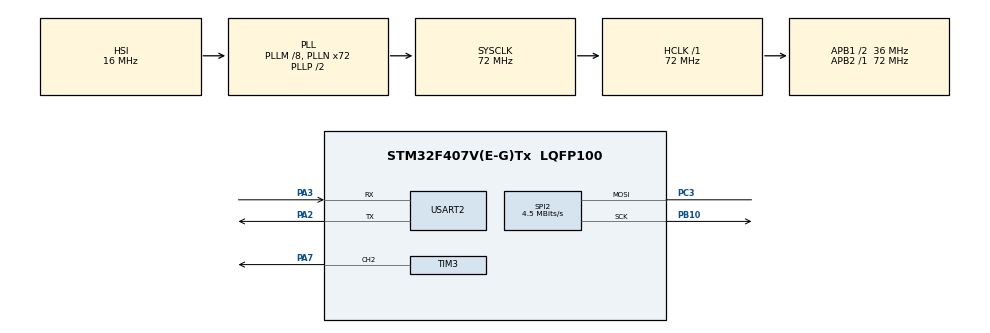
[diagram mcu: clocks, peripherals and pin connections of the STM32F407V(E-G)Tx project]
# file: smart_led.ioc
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Dma.Request0=TIM3_CH2
Dma.TIM3_CH2.0.Direction=DMA_MEMORY_TO_PERIPH
Dma.TIM3_CH2.0.FIFOMode=DMA_FIFOMODE_DISABLE
Dma.TIM3_CH2.0.Instance=DMA1_Stream5
Dma.TIM3_CH2.0.MemDataAlignment=DMA_MDATAALIGN_HALFWORD
Dma.TIM3_CH2.0.MemInc=DMA_MINC_ENABLE
Dma.TIM3_CH2.0.Mode=DMA_NORMAL
Dma.TIM3_CH2.0.PeriphDataAlignment=DMA_PDATAALIGN_HALFWORD
Dma.TIM3_CH2.0.PeriphInc=DMA_PINC_DISABLE
Dma.TIM3_CH2.0.Priority=DMA_PRIORITY_LOW
Mcu.Family=STM32F4
Mcu.Name=STM32F407V(E-G)Tx
Mcu.Package=LQFP100
NVIC.DMA1_Stream5_IRQn=true\:0\:0\:false\:false\:true\:false\:true\:true
NVIC.PriorityGroup=NVIC_PRIORITYGROUP_4
NVIC.USART2_IRQn=true\:0\:0\:false\:false\:true\:true\:true\:true
PA2.Mode=Asynchronous
PA2.Signal=USART2_TX
PA3.Mode=Asynchronous
PA3.Signal=USART2_RX
PA7.Signal=S_TIM3_CH2
PB10.Mode=Simplex_Bidirectional_Master
PB10.Signal=SPI2_SCK
PC3.Mode=Simplex_Bidirectional_Master
PC3.Signal=SPI2_MOSI
ProjectManager.HeapSize=0x200
ProjectManager.StackSize=0x400
ProjectManager.TargetToolchain=STM32CubeIDE
RCC.48MHZClocksFreq_Value=36000000
RCC.AHBFreq_Value=72000000
RCC.APB1CLKDivider=RCC_HCLK_DIV2
RCC.APB1Freq_Value=36000000
RCC.APB1TimFreq_Value=72000000
RCC.APB2Freq_Value=72000000
RCC.APB2TimFreq_Value=72000000
RCC.CortexFreq_Value=72000000
RCC.HCLKFreq_Value=72000000
RCC.HSE_VALUE=25000000
RCC.HSI_VALUE=16000000
RCC.LSE_VALUE=32768
RCC.PLLM=8
RCC.PLLN=72
RCC.SYSCLKFreq_VALUE=72000000
RCC.SYSCLKSource=RCC_SYSCLKSOURCE_PLLCLK
RCC.VCOOutputFreq_Value=144000000
SH.S_TIM3_CH2.0=TIM3_CH2,PWM Generation2 CH2
SPI2.BaudRatePrescaler=SPI_BAUDRATEPRESCALER_8
SPI2.CalculateBaudRate=4.5 MBits/s
SPI2.Direction=SPI_DIRECTION_1LINE
SPI2.Mode=SPI_MODE_MASTER
SPI2.VirtualType=VM_MASTER
TIM3.Channel-PWM\ Generation2\ CH2=TIM_CHANNEL_2
TIM3.OCMode_PWM-PWM\ Generation2\ CH2=TIM_OCMODE_PWM1
TIM3.Period=90-1
TIM3.Prescaler=0
USART2.VirtualMode=VM_ASYNC
board=custom

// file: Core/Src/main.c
/* USER CODE BEGIN Header */
/**
  ******************************************************************************
  * @file           : main.c
  * @brief          : Main program body
  ******************************************************************************
  * @attention
  *
  * Copyright (c) 2024 STMicroelectronics.
  * All rights reserved.
  *
  * This software is licensed under terms that can be found in the LICENSE file
  * in the root directory of this software component.
  * If no LICENSE file comes with this software, it is provided AS-IS.
  *
  ******************************************************************************
  */
/* USER CODE END Header */
#include "main.h"
#include "math.h"
#include <string.h>

SPI_HandleTypeDef hspi2;

TIM_HandleTypeDef htim3;
DMA_HandleTypeDef hdma_tim3_ch2;

UART_HandleTypeDef huart2;

void SystemClock_Config(void);
static void MX_GPIO_Init(void);
static void MX_DMA_Init(void);
static void MX_SPI2_Init(void);
static void MX_USART2_UART_Init(void);
static void MX_TIM3_Init(void);

/* USER CODE BEGIN 0 */

volatile uint8_t data_received_flag = 0;
uint8_t uart_buffer_rx[4];  // max 12  255_255_255_100_
uint8_t color_number[3];		// R

uint8_t input_red=0;
uint8_t input_green=0;
uint8_t input_blue=0;
uint8_t input_brightness=0;

#define MAX_LED 60
#define USE_BRIGHTNESS 1

uint8_t LED_data[MAX_LED][4];
uint8_t LED_Mod[MAX_LED][4];	// for brightness

int datasentflag = 0;  // set once the DMA stopped

void HAL_TIM_PWM_PulseFinishedCallback(TIM_HandleTypeDef *htim){
	HAL_TIM_PWM_Stop_DMA(&htim3, TIM_CHANNEL_2);
	datasentflag = 1;  // the flag ensures that the DMA dont send another data while the first data is still transmitted
}

void Set_LED (int LEDnum, int Red, int Green, int Blue){
	LED_data[LEDnum][0] = LEDnum;
	LED_data[LEDnum][1] = Green;
	LED_data[LEDnum][2] = Red;
	LED_data[LEDnum][3] = Blue;
}

# define PI 3.14159265

void Set_Brightness (int brightness){
#if USE_BRIGHTNESS

	if (brightness > 45) brightness = 45;
	for(int i=0; i<MAX_LED; i++){
		LED_Mod[i][0] = LED_data[i][0];
		for(int j=1; j<4;j++){
			float angle = 90 - brightness; // in degrees
			angle = angle*PI / 180; // in rad
			LED_Mod[i][j] = (LED_data[i][j])/(tan(angle));
		}
	}

#endif
}

// compare the two scaling algorithm
void Set_Brightness2 (int brightness){
#if USE_BRIGHTNESS
	if (brightness > 100) brightness = 100;
	for(int i=0; i<MAX_LED; i++){
		for(int j=1; j<4;j++){
		    double scaledValue = (double)brightness/100;
		    double logValue = log10(1 + 9 * scaledValue) / log10(10);
			LED_Mod[i][j] = LED_data[i][j] * logValue;
		}
	}
#endif
}

//24
// 23

//uint16_t pwmData[24];
uint16_t pwmData[(24*MAX_LED)+50];

//uint16_t pwmData[24];

void send (int Green, int Red, int Blue){
	  uint32_t data = (Green<<16) | (Red<<8) | Blue;

	  for (int i = 23; i>=0; i--){
		  if(data&(1<<i)) pwmData[i] = 60;
		  else pwmData[i] = 30;
	  }

	  HAL_TIM_PWM_Start_DMA(&htim3, TIM_CHANNEL_2, (uint32_t *)pwmData, 24);
}

  // the extra 50 is to store the reset code

void WS2812B_Send(void){
	uint32_t indx = 0;
	uint32_t color;

	for(int i=0; i<MAX_LED; i++){
		color = ((LED_Mod[i][1]<<16) | (LED_Mod[i][2]<< 8) | (LED_Mod[i][3]));

		for(int i=23; i>=0; i--){
			if(color&(1<<i)){
				pwmData[indx] = 60;  	//  2/3 of 90  (datasheet timing)
			}
			else pwmData[indx] = 30;	//  1/3 of 90  (datasheet timing)
			indx++;
		}
	}
	for(int i=0; i<50; i++){  // from datasheet info  50 zeros -> reset code   50usec delay in the PWM output
		pwmData[indx] =0;
		indx++;
	}
	HAL_TIM_PWM_Start_DMA(&htim3, TIM_CHANNEL_2, (uint32_t *)pwmData, indx);
	while(!datasentflag){};
	datasentflag = 0;
}

void HAL_UART_TxCpltCallback(UART_HandleTypeDef *huart){

}

void HAL_UART_RxCpltCallback(UART_HandleTypeDef *huart){
	if(huart->Instance==USART2){
		data_received_flag = 1;
		//HAL_UART_Receive_IT(&huart2, buffer_rx, 10);

		// if yes we can do something   or  __NOP();
		// in my exampl i have to show the main loop that i received datas, i need a flag
	}

	// in case we have multiple usarts:
	//if(huart->Instance==USART1){
			// ez akkor kell ha van másik UART ról is megszakítás
	//}
}
/* USER CODE END 0 */

int main(void)
{

  /* MCU Configuration--------------------------------------------------------*/

  /* Reset of all peripherals, Initializes the Flash interface and the Systick. */
  HAL_Init();

  /* Configure the system clock */
  SystemClock_Config();

  /* Initialize all configured peripherals */
  MX_GPIO_Init();
  MX_DMA_Init();
  MX_SPI2_Init();
  MX_USART2_UART_Init();
  MX_TIM3_Init();
  /* USER CODE BEGIN 2 */
 // HAL_SPI_Transmit(&hspi2, spi_buffer_tx, 9, 100);
  /*
  for(int i=0; i<8;i++){
	  setLED(i, 0, 0, 0);
  }
  WS2812_Send();*/
  //B R G
  //send(5, 255, 101);
  /*
  for(int i=0; i<30;i++){
	  Set_LED(i,255, 100,0);
  }
  for(int i=30; i<59;i++){
  	  Set_LED(i,255,0,100);
    }
    */
  //Set_LED(0,255, 0,0);
  //Set_LED(1,0, 255,0);
  //Set_LED(2,0, 0,255);

  //Set_LED(3, 46, 89, 128);
  //send(0, 0, 255);
  //send(255, 0, 0);
  //Set_Brightness(45);
  //WS2812B_Send();

  // i have to start the reception before transmittion ??  dont forget
  //HAL_UART_Receive_IT(&huart2, (uint8_t *)uart_buffer_rx, 10);
  //HAL_UART_Transmit_IT(&huart2, buffer_tx, 10);
  //HAL_UART_Receive_IT(&huart2, buffer_rx, 10);
  HAL_UART_Receive_IT(&huart2, (uint8_t *)uart_buffer_rx, 4);
  //HAL_UART_Transmit_IT(&huart2, buffer_tx, 10);

  /* USER CODE END 2 */

  /* Infinite loop */
  while (1)
  {

    /* USER CODE BEGIN 3 */
	  if(data_received_flag){
		  HAL_UART_Receive_IT(&huart2, (uint8_t *)uart_buffer_rx, 4);
		  input_red = uart_buffer_rx[0];
		  input_green = uart_buffer_rx[1];
		  input_blue = uart_buffer_rx[2];

		  //void byteToRGB();
		  for(int i=0; i<30;i++){
		  	  Set_LED(i,input_red, input_green, input_blue);
		  }
		  for(int i=30; i<59;i++){
		    Set_LED(i,input_red, input_green, input_blue);
		  }
		  Set_Brightness(uart_buffer_rx[3]);
		  WS2812B_Send();

		  //HAL_UART_Transmit_IT(&huart2, uart_buffer_rx, 15);

		  data_received_flag = 0;
	  }
	  /*
	   *

	  for(int i=0; i<8;i++){
	  	  setLED(i, 255, 0, 0);
	    }
	    WS2812_Send();
*/

	// Apres l'allume le unit, it need to open the last saved led pattern if there is one,
	 // if exist then open and send to LED, if not then do switch off and on all of the leds some diag light
	// Saving mo22re patterns
	// switching between patters with a button
	// saving a pattern with a long push
	// do a blink with the current pattern indicate that the pattern is saved
	 // set the SPI speed to 800kHz

	//HAL_SPI_Transmit(&hspi2, spi_buffer_tx, 10, 100);
	//HAL_UART_Transmit_IT(&huart2, buffer_tx, 10);
	  //HAL_SPI_Transmit(&hspi2, spi2_buffer_tx, 3, 100);

	 // updateLEDs(spi_buffer_tx, size);
	    /*
	if(data_received_flag == 1){
		for(int i = 0; i<10;i++){
			spi_buffer_tx[i] = uart_buffer_rx[i];
		}
		updateLEDs(spi_buffer_tx, 10);
		HAL_UART_Transmit_IT(&huart2, spi_buffer_tx, 10);
		//HAL_SPI_Transmit(&hspi2, spi_buffer_tx, 10, 100);
		//spi_buffer_tx[i] =
		//uart_buffer_rx
		//do something
		// update the LED output
		data_received_flag = 0;
	}
	*/
  }
  /* USER CODE END 3 */
}

void SystemClock_Config(void)
{
  RCC_OscInitTypeDef RCC_OscInitStruct = {0};
  RCC_ClkInitTypeDef RCC_ClkInitStruct = {0};

  /** Configure the main internal regulator output voltage
  */
  __HAL_RCC_PWR_CLK_ENABLE();
  __HAL_PWR_VOLTAGESCALING_CONFIG(PWR_REGULATOR_VOLTAGE_SCALE1);

  /** Initializes the RCC Oscillators according to the specified parameters
  * in the RCC_OscInitTypeDef structure.
  */
  RCC_OscInitStruct.OscillatorType = RCC_OSCILLATORTYPE_HSI;
  RCC_OscInitStruct.HSIState = RCC_HSI_ON;
  RCC_OscInitStruct.HSICalibrationValue = RCC_HSICALIBRATION_DEFAULT;
  RCC_OscInitStruct.PLL.PLLState = RCC_PLL_ON;
  RCC_OscInitStruct.PLL.PLLSource = RCC_PLLSOURCE_HSI;
  RCC_OscInitStruct.PLL.PLLM = 8;
  RCC_OscInitStruct.PLL.PLLN = 72;
  RCC_OscInitStruct.PLL.PLLP = RCC_PLLP_DIV2;
  RCC_OscInitStruct.PLL.PLLQ = 4;
  if (HAL_RCC_OscConfig(&RCC_OscInitStruct) != HAL_OK)
  {
    Error_Handler();
  }

  /** Initializes the CPU, AHB and APB buses clocks
  */
  RCC_ClkInitStruct.ClockType = RCC_CLOCKTYPE_HCLK|RCC_CLOCKTYPE_SYSCLK
                              |RCC_CLOCKTYPE_PCLK1|RCC_CLOCKTYPE_PCLK2;
  RCC_ClkInitStruct.SYSCLKSource = RCC_SYSCLKSOURCE_PLLCLK;
  RCC_ClkInitStruct.AHBCLKDivider = RCC_SYSCLK_DIV1;
  RCC_ClkInitStruct.APB1CLKDivider = RCC_HCLK_DIV2;
  RCC_ClkInitStruct.APB2CLKDivider = RCC_HCLK_DIV1;

  if (HAL_RCC_ClockConfig(&RCC_ClkInitStruct, FLASH_LATENCY_2) != HAL_OK)
  {
    Error_Handler();
  }
}

static void MX_SPI2_Init(void)
{

  /* SPI2 parameter configuration*/
  hspi2.Instance = SPI2;
  hspi2.Init.Mode = SPI_MODE_MASTER;
  hspi2.Init.Direction = SPI_DIRECTION_1LINE;
  hspi2.Init.DataSize = SPI_DATASIZE_8BIT;
  hspi2.Init.CLKPolarity = SPI_POLARITY_LOW;
  hspi2.Init.CLKPhase = SPI_PHASE_1EDGE;
  hspi2.Init.NSS = SPI_NSS_SOFT;
  hspi2.Init.BaudRatePrescaler = SPI_BAUDRATEPRESCALER_8;
  hspi2.Init.FirstBit = SPI_FIRSTBIT_MSB;
  hspi2.Init.TIMode = SPI_TIMODE_DISABLE;
  hspi2.Init.CRCCalculation = SPI_CRCCALCULATION_DISABLE;
  hspi2.Init.CRCPolynomial = 10;
  if (HAL_SPI_Init(&hspi2) != HAL_OK)
  {
    Error_Handler();
  }

}

static void MX_TIM3_Init(void)
{

  TIM_MasterConfigTypeDef sMasterConfig = {0};
  TIM_OC_InitTypeDef sConfigOC = {0};

  htim3.Instance = TIM3;
  htim3.Init.Prescaler = 0;
  htim3.Init.CounterMode = TIM_COUNTERMODE_UP;
  htim3.Init.Period = 90-1;
  htim3.Init.ClockDivision = TIM_CLOCKDIVISION_DIV1;
  htim3.Init.AutoReloadPreload = TIM_AUTORELOAD_PRELOAD_DISABLE;
  if (HAL_TIM_PWM_Init(&htim3) != HAL_OK)
  {
    Error_Handler();
  }
  sMasterConfig.MasterOutputTrigger = TIM_TRGO_RESET;
  sMasterConfig.MasterSlaveMode = TIM_MASTERSLAVEMODE_DISABLE;
  if (HAL_TIMEx_MasterConfigSynchronization(&htim3, &sMasterConfig) != HAL_OK)
  {
    Error_Handler();
  }
  sConfigOC.OCMode = TIM_OCMODE_PWM1;
  sConfigOC.Pulse = 0;
  sConfigOC.OCPolarity = TIM_OCPOLARITY_HIGH;
  sConfigOC.OCFastMode = TIM_OCFAST_DISABLE;
  if (HAL_TIM_PWM_ConfigChannel(&htim3, &sConfigOC, TIM_CHANNEL_2) != HAL_OK)
  {
    Error_Handler();
  }
  HAL_TIM_MspPostInit(&htim3);

}

static void MX_USART2_UART_Init(void)
{

  huart2.Instance = USART2;
  huart2.Init.BaudRate = 115200;
  huart2.Init.WordLength = UART_WORDLENGTH_8B;
  huart2.Init.StopBits = UART_STOPBITS_1;
  huart2.Init.Parity = UART_PARITY_NONE;
  huart2.Init.Mode = UART_MODE_TX_RX;
  huart2.Init.HwFlowCtl = UART_HWCONTROL_NONE;
  huart2.Init.OverSampling = UART_OVERSAMPLING_16;
  if (HAL_UART_Init(&huart2) != HAL_OK)
  {
    Error_Handler();
  }

}

static void MX_DMA_Init(void)
{

  /* DMA controller clock enable */
  __HAL_RCC_DMA1_CLK_ENABLE();

  /* DMA interrupt init */
  /* DMA1_Stream5_IRQn interrupt configuration */
  HAL_NVIC_SetPriority(DMA1_Stream5_IRQn, 0, 0);
  HAL_NVIC_EnableIRQ(DMA1_Stream5_IRQn);

}

static void MX_GPIO_Init(void)
{

  /* GPIO Ports Clock Enable */
  __HAL_RCC_GPIOC_CLK_ENABLE();
  __HAL_RCC_GPIOA_CLK_ENABLE();
  __HAL_RCC_GPIOB_CLK_ENABLE();

}

void Error_Handler(void)
{
  __disable_irq();
  while (1)
  {
  }
}
